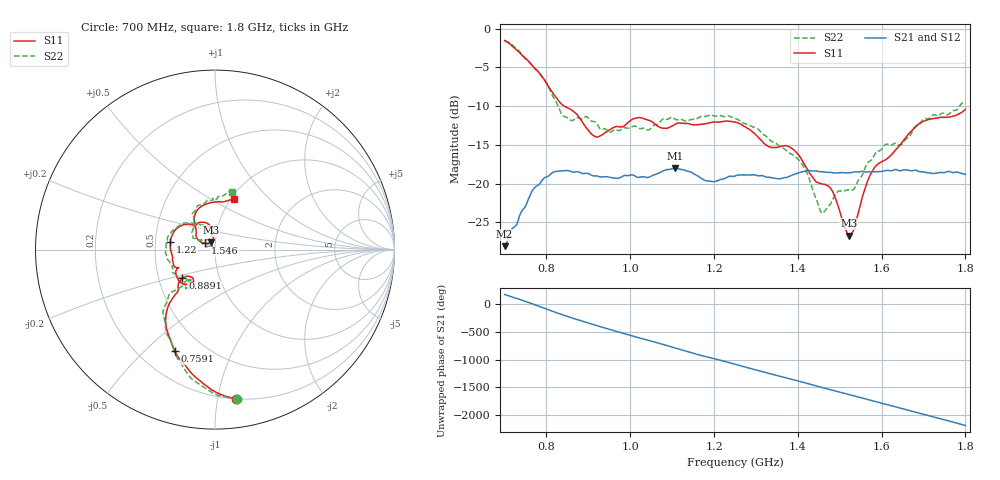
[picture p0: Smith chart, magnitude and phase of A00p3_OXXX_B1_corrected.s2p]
! Created with skrf 1.9.0 (http://scikit-rf.org).
# Hz S RI R 50.0
!freq ReS11 ImS11 ReS21 ImS21 ReS12 ImS12 ReS22 ImS22
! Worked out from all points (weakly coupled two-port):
!   1601 points, 700 MHz to 1.8 GHz, reference 50 ohm
!   highest |S21| = -17.98 dB at 1.107 GHz (marker M1); lowest = -28.1 dB at 700 MHz (marker M2)
!   lowest |S11| = -26.7 dB at 1.522 GHz (marker M3), VSWR 1.10, Z = 47.6 + j3.81 ohm
!   |S11| at or under -10 dB: 842.6 MHz to end of sweep
!   |S22| runs from -23.8 to -1.5 dB; largest |S21 - S12| = 0.0024
!   S11 on the Smith chart (normalised r, x): 700 MHz: 0.20, -1.13; 759.1 MHz: 0.35, -0.62; 889.1 MHz: 0.66, -0.22; 1.22 GHz: 0.60, +0.05; 1.546 GHz: 0.89, +0.06; 1.8 GHz: 1.04, +0.64
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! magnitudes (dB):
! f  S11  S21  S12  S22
! 700 MHz  -1.5  -28.1  -27.8  -1.5
! 759.1 MHz  -4.3  -21.8  -21.6  -4.3
! 838.9 MHz  -9.9  -18.3  -18.4  -11.2
! 883.6 MHz  -11.9  -18.7  -18.5  -11.6
! 889.1 MHz  -12.3  -18.7  -18.6  -11.5
! 920 MHz  -14.0  -19.0  -19.0  -12.3
! 1.016 GHz  -11.5  -19.2  -19.1  -12.7
! 1.067 GHz  -12.6  -18.7  -18.6  -12.3
! 1.107 GHz  -12.3  -18.0  -18.0  -11.7
! 1.22 GHz  -12.0  -19.4  -19.5  -11.3
! 1.25 GHz  -12.1  -19.0  -18.9  -11.6
! 1.399 GHz  -16.1  -18.7  -18.7  -16.7
! 1.434 GHz  -19.1  -18.4  -18.3  -20.5
! 1.459 GHz  -20.1  -18.5  -18.5  -23.8
! 1.482 GHz  -21.0  -18.6  -18.6  -22.1
! 1.522 GHz  -26.7  -18.6  -18.6  -20.8
! 1.546 GHz  -23.5  -18.5  -18.5  -19.5
! 1.577 GHz  -18.5  -18.5  -18.4  -16.9
! 1.617 GHz  -16.6  -18.3  -18.3  -15.0
! 1.647 GHz  -14.8  -18.3  -18.3  -15.0
! 1.693 GHz  -12.1  -18.5  -18.5  -12.1
! 1.8 GHz  -10.4  -18.8  -18.8  -9.6
